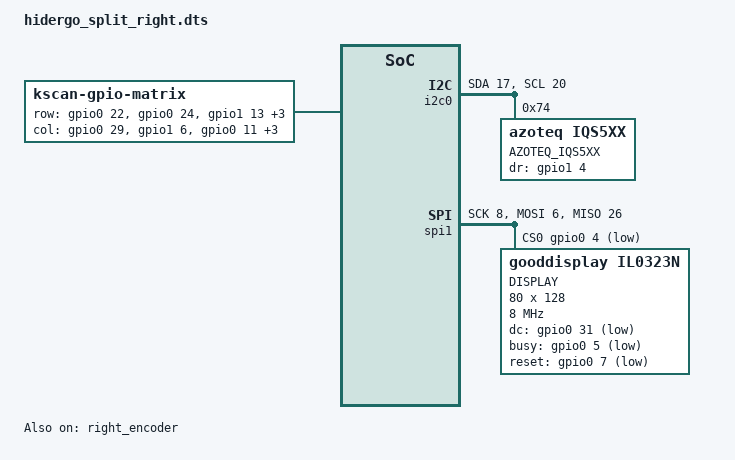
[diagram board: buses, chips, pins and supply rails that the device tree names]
#include "hidergo_split.dts"

&default_transform {
    // The matrix transform for this board is 6 columns over because the left half is 6 columns wide according to the matrix.
    col-offset = <7>;
};

/{
    chosen {
        zmk,mouse = &trackpad;
    };

    kscan0: kscan {
        compatible = "zmk,kscan-gpio-matrix";
        label = "KSCAN";
        diode-direction = "col2row";

        row-gpios
        = <&gpio0 22 (GPIO_ACTIVE_HIGH | GPIO_PULL_DOWN)> // Row 0 - Nice!Nano pin D0
        , <&gpio0 24 (GPIO_ACTIVE_HIGH | GPIO_PULL_DOWN)> // Row 1 - Nice!Nano pin D1
        , <&gpio1 13 (GPIO_ACTIVE_HIGH | GPIO_PULL_DOWN)> // Row 2 - Nice!Nano pin D2
        , <&gpio0 9 (GPIO_ACTIVE_HIGH | GPIO_PULL_DOWN)>  // Row 3 - Nice!Nano pin D3
        , <&gpio0 10 (GPIO_ACTIVE_HIGH | GPIO_PULL_DOWN)> // Row 4 - Nice!Nano pin D4
        , <&gpio1 11 (GPIO_ACTIVE_HIGH | GPIO_PULL_DOWN)> // Row 5 - Nice!Nano pin D5
        ;

        col-gpios
        = <&gpio0 29 GPIO_ACTIVE_HIGH>  // Col 0 - Nice!Nano pin D6
        , <&gpio1 6 GPIO_ACTIVE_HIGH>  // Col 1 - Nice!Nano pin D7
        , <&gpio0 11 GPIO_ACTIVE_HIGH> // Col 2 - Nice!Nano pin D8
        , <&gpio1 2 GPIO_ACTIVE_HIGH>  // Col 3 - Nice!Nano pin D9
        , <&gpio1 1 GPIO_ACTIVE_HIGH>  // Col 4 - Nice!Nano pin D10
        , <&gpio0 3 GPIO_ACTIVE_HIGH>  // Col 5 - Nice!Nano pin A0
        ;
    };
};

&i2c0 {
    compatible = "nordic,nrf-twi";
    sda-pin = <17>;  // Nice!Nano SDA
    scl-pin = <20>;  // Nice!Nano SCL

    status = "okay";

    trackpad: trackpad@74 {
        compatible = "azoteq,iqs5xx";
        label = "AZOTEQ_IQS5XX";
        status = "okay";
        reg = <0x74>;
        dr-gpios = <&gpio1 4 GPIO_ACTIVE_HIGH>; // Nice!Nano pin A1
    };
};

&spi1 {
    status = "okay";
    compatible = "nordic,nrf-spim";
    sck-pin = <8>;   // Nice!Nano SCLK
    mosi-pin = <6>;  // Nice!Nano MOSI
    miso-pin = <26>; // Nice!Nano MISO (P0.26 on Nice!Nano)
    cs-gpios = <&gpio0 4 GPIO_ACTIVE_LOW>; // Nice!Nano pin A2

    epd: il0323n@0 {
        compatible = "gooddisplay,il0323n";
        reg = <0>;
        label = "DISPLAY";
        width = <80>;
        height = <128>;
        status = "okay";
        spi-max-frequency = <8000000>;
        dc-gpios = <&gpio0 31 GPIO_ACTIVE_LOW>;   // Nice!Nano pin A3
        busy-gpios = <&gpio0 5 GPIO_ACTIVE_LOW>;  // Nice!Nano pin A4
        reset-gpios = <&gpio0 7 GPIO_ACTIVE_LOW>; // Nice!Nano pin A5
    };
};

&right_encoder {
    status = "okay";
};
